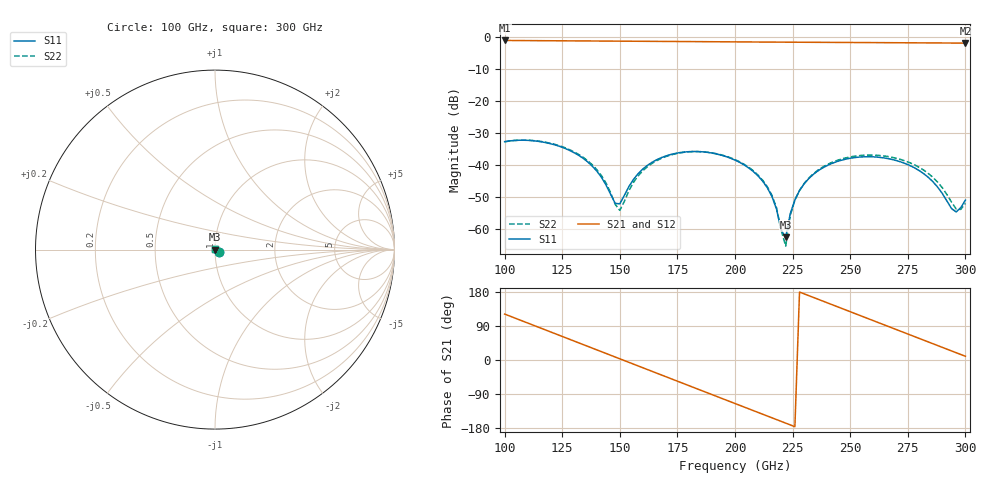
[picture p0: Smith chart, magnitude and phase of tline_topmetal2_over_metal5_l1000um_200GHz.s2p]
#  GHZ S DB R 50
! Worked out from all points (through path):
!   101 points, 100 GHz to 300 GHz, reference 50 ohm
!   highest |S21| = -0.96 dB at 100 GHz (marker M1); lowest = -1.8 dB at 300 GHz (marker M2)
!   group delay of S21, straight-line fit = 6.55 ps
!   lowest |S11| = -62.7 dB at 222 GHz (marker M3), VSWR 1.00, Z = 50.1 - j0.0156 ohm
!   |S11| at or under -10 dB: start of sweep to end of sweep
!   |S22| runs from -65.5 to -32.2 dB; largest |S21 - S12| = 1.8e-13
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100  -32.68 -27.8  -0.96 121.3  -0.96 121.3  -32.74 -28.2
116  -32.74 -61.6  -1.03 83.5  -1.03 83.5  -32.66 -62.6
134  -37.88 -96.7  -1.11 41.0  -1.11 41.0  -37.57 -99.3
142  -43.85 -104.2  -1.14 22.1  -1.14 22.1  -43.31 -109.8
148  -52.06 -70.3  -1.17 7.9  -1.17 7.9  -52.37 -87.0
150  -52.19 -35.7  -1.18 3.2  -1.18 3.2  -54.23 -48.0
158  -42.70 -1.4  -1.21 -15.7  -1.21 -15.7  -43.38 -0.5
168  -37.72 -16.4  -1.26 -39.4  -1.26 -39.4  -37.95 -16.3
184  -35.81 -50.8  -1.33 -77.1  -1.33 -77.1  -35.81 -51.5
200  -38.47 -86.3  -1.41 -114.8  -1.41 -114.8  -38.32 -87.9
214  -47.12 -113.1  -1.47 -147.8  -1.47 -147.8  -46.80 -116.8
218  -53.77 -113.0  -1.48 -157.2  -1.48 -157.2  -53.38 -120.3
220  -60.35 -96.4  -1.49 -161.9  -1.49 -161.9  -60.39 -111.2
222  -62.66 -12.2  -1.50 -166.6  -1.50 -166.6  -65.47 -7.7
224  -55.26 16.6  -1.50 -171.3  -1.50 -171.3  -55.77 21.3
226  -50.91 20.1  -1.51 -176.0  -1.51 -176.0  -51.03 22.7
234  -42.95 8.7  -1.54 165.2  -1.54 165.2  -42.75 8.9
252  -37.68 -32.5  -1.60 122.8  -1.60 122.8  -37.24 -33.6
268  -38.25 -73.4  -1.67 85.1  -1.67 85.1  -37.57 -74.8
284  -43.95 -122.1  -1.73 47.4  -1.73 47.4  -42.72 -122.7
296  -54.74 131.5  -1.77 19.2  -1.77 19.2  -53.78 149.5
300  -51.04 74.3  -1.79 9.8  -1.79 9.8  -52.03 82.7
